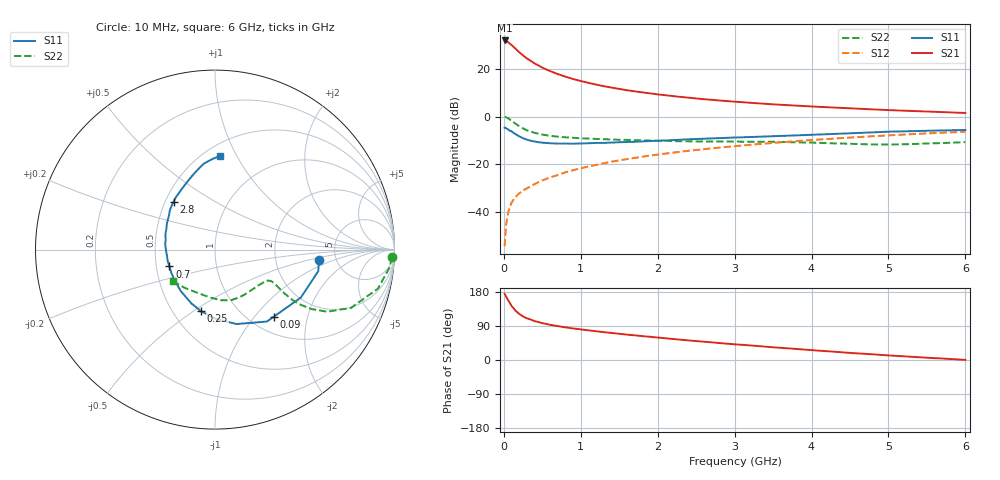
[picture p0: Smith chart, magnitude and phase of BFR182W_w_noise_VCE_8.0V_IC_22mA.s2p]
! Infineon Technologies  Discrete & RF Semiconductors
! BFR182W
! VCE =  8.0 V,  IC =  22 mA
! Common Emitter S-Parameters:  Jan 2017
# GHz  S  MA  R  50
!  f  S11  S21  S12  S22
! GHz  MAG  ANG  MAG  ANG  MAG  ANG  MAG  ANG
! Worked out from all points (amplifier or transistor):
!   77 points, 10 MHz to 6 GHz, reference 50 ohm
!   highest |S21| = 32.0 dB at 10 MHz (marker M1)
!   |S21| within 3 dB of that: start of sweep to 136.1 MHz
!   unconditionally stable (mu >= 1): 835.8 MHz to 2.339 GHz
!   at 130 MHz: K = 0.44, MSG = 31.9 dB, |S12| = -34.7 dB
!   at 2.2 GHz: K = 1.01, MAG = 11.3 dB, |S12| = -15.1 dB
!   at 6 GHz: K = 0.86, MSG = 3.9 dB, |S12| = -6.3 dB
!   lowest NFmin = 1.47 dB at 450 MHz
!   S11 on the Smith chart (normalised r, x): 10 MHz: 3.66, -0.65; 90 MHz: 1.27, -1.26; 250 MHz: 0.68, -0.53; 700 MHz: 0.59, -0.12; 2.8 GHz: 0.55, +0.34; 6 GHz: 0.60, +0.86
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0.01  0.5818 -5.8  39.69 174.8  0.0019 90.4  0.9849 -2.5
0.02  0.5878 -11.8  39.62 171.1  0.0034 90.1  0.9796 -5.6
0.05  0.5479 -29.2  37.22 159.3  0.0087 82.9  0.934 -13.4
0.09  0.4969 -48.9  32.79 146.4  0.0141 72.7  0.8444 -21.0
0.1  0.4943 -54.2  31.99 142.7  0.0155 71.3  0.8247 -23.2
0.15  0.4315 -74.0  26.79 130.5  0.0204 67.0  0.7138 -29.0
0.2  0.3844 -89.9  22.49 121.6  0.0244 66.8  0.6288 -31.7
0.25  0.3512 -102.9  19.22 114.8  0.0283 64.1  0.5647 -32.8
0.3  0.3277 -113.5  16.61 110.0  0.031 64.8  0.516 -33.0
0.4  0.2999 -129.4  13.06 102.5  0.0382 67.1  0.4553 -32.2
0.5  0.2833 -141.8  10.68 97.3  0.0456 68.7  0.4188 -31.1
0.6  0.2757 -151.6  9.044 93.0  0.0527 69.3  0.3945 -30.2
0.7  0.2707 -159.7  7.823 89.5  0.0592 70.6  0.3789 -29.6
0.9  0.2697 -172.8  6.158 83.3  0.0747 71.1  0.3584 -29.4
1.1  0.2757 177.2  5.103 78.3  0.0897 71.3  0.3452 -30.1
1.5  0.2895 162.3  3.807 69.2  0.12 70.5  0.3264 -33.8
2.1  0.3153 145.3  2.809 57.4  0.1669 67.2  0.308 -43.4
2.8  0.3529 130.9  2.18 44.8  0.2228 62.5  0.2994 -58.2
3.1  0.3676 125.1  2.004 40.0  0.2472 60.0  0.2972 -64.3
4.1  0.4208 109.2  1.602 24.6  0.3295 51.6  0.2807 -85.1
5.1  0.486 96.5  1.35 10.9  0.4113 42.2  0.2605 -115.4
6  0.5238 86.7  1.192 0.4  0.4817 33.2  0.2916 -142.7
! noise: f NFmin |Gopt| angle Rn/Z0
0.45  1.47  0.13  -172  0.15
0.9  1.55  0.14  -167  0.15
1.9  2.06  0.29  -141  0.17
2.4  2.34  0.31  -127  0.27
